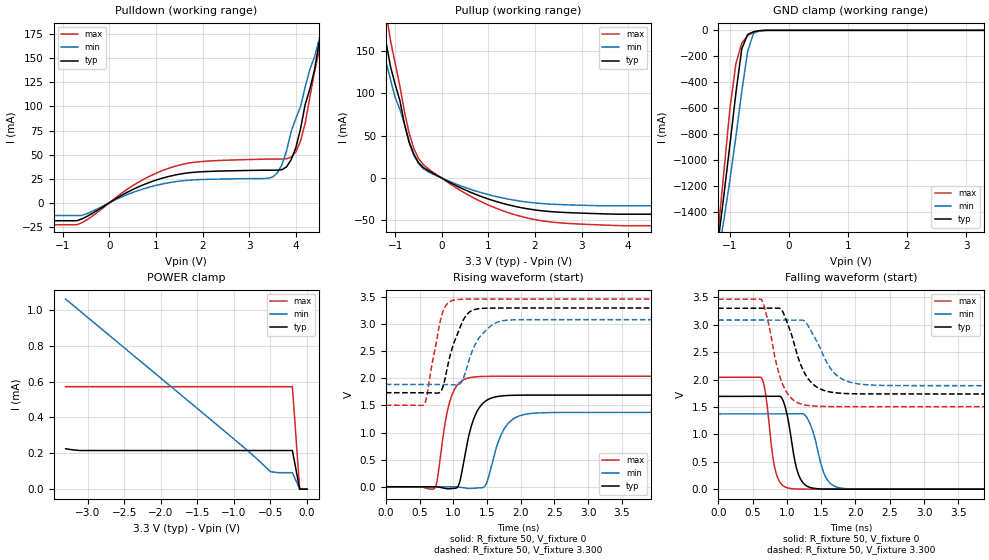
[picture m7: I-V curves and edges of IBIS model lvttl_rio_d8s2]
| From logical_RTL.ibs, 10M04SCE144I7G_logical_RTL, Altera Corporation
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|MODEL lvttl_rio_d8s2
[Model]   lvttl_rio_d8s2
Model_type   I/O
Polarity   Non-Inverting
Enable Active-Low
Vinl   = 0.800
Vinh   = 1.700
Vmeas  = 1.650
Rref   = 10M
Cref   = 0pF
Vref   = 0.000
C_comp 4.5pF   4.5pF   4.5pF
[Model Spec]
Vinh   1.700   1.700   1.700
Vinl   0.800   0.800   0.800
[Temperature Range]   25   100   -40
[Voltage Range]   3.300   3.085   3.465
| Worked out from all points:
|   slope of the pulldown table from 0 to 0.495 V, typ, clamps not added: 36.4 ohm
|   slope of the pullup table from 0 to 0.495 V, typ, clamps not added: 35.8 ohm
|   GND clamp passes 1 mA (typ) near -0.44 V on its own axis
|   rising waveform, R_fixture 50, V_fixture 0: 20-80 % time 200ps typ, 228ps min, 169ps max; typ from 0 V to 1.69 V
|   falling waveform, R_fixture 50, V_fixture 0: 20-80 % time 147ps typ, 179ps min, 119ps max; typ from 1.69 V to 0 V
|   rising waveform, R_fixture 50, V_fixture 3.300: 20-80 % time 229ps typ, 266ps min, 173ps max; typ from 1.74 V to 3.3 V
|   falling waveform, R_fixture 50, V_fixture 3.300: 20-80 % time 271ps typ, 314ps min, 221ps max; typ from 3.3 V to 1.74 V
[GND Clamp]
| voltage   I (typ)   I (min)   I (max)
-3.3V     -8.634A    -7.641A    -10.53A
-1.2V     -1.626A    -1.726A    -1.552A
-1.1V     -1.26A     -1.452A    -1.075A
-1V       -875.9mA   -1.149A    -598.7mA
-900mV    -483.9mA   -819.2mA   -258.1mA
-800mV    -141.1mA   -469.2mA   -98.68mA
-700mV    -32.06mA   -161mA     -39.97mA
-600mV    -10.6mA    -22.19mA   -15.19mA
-500mV    -2.181mA   -3.852mA   -3.947mA
3.3V      0A         0A         0A
[Pulldown]
| voltage   I (typ)   I (min)   I (max)
-3.3V     -18.72mA   -13.26mA   -22.9mA
-700mV    -18.72mA   -13.26mA   -22.9mA
1.3V      27.6mA     20.99mA    36.24mA
3.5V      33.8mA     26.59mA    45.35mA
3.8V      37.18mA    53.41mA    45.67mA
4V        57.05mA    87.51mA    52.72mA
4.1V      76.32mA    99.59mA    63.89mA
4.2V      101.7mA    119.9mA    82.17mA
4.4V      137.4mA    151.2mA    135.6mA
4.5V      166.1mA    169.4mA    157.8mA
4.6V      180.2mA    189.3mA    186.3mA
6.5V      579.5mA    514.3mA    675.9mA
[Power Clamp]
| voltage   I (typ)   I (min)   I (max)
-3.3V     225.6uA    1.06mA     571.7uA
-3.1V     215.6uA    992.4uA    571.7uA
-1V       215.6uA    280uA      571.7uA
-700mV    215.6uA    174.9uA    571.7uA
-500mV    215.6uA    97.73uA    571.7uA
-400mV    215.6uA    92.15uA    571.7uA
-200mV    215.6uA    92.15uA    571.7uA
-100mV    0A         0A         0A
0V        0A         0A         0A
[Pullup]
| voltage   I (typ)   I (min)   I (max)
-3.3V     631mA      533.6mA    786mA
-1.5V     231.7mA    194.3mA    279.7mA
-1.3V     179.7mA    153mA      228.3mA
-1.2V     161.4mA    137.6mA    196.9mA
-1.1V     131.3mA    116mA      161.8mA
-800mV    63.42mA    63.77mA    78.12mA
-600mV    28.16mA    26.7mA     34.98mA
-400mV    12.61mA    11.19mA    16.14mA
300mV     -8.767mA   -6.959mA   -11.2mA
1.3V      -29.75mA   -23.43mA   -38.41mA
2.3V      -39.42mA   -30.64mA   -51.56mA
6.5V      -42.64mA   -32.73mA   -56.23mA
[Ramp]
dV/dt_r   1.015e+00/2.002e-10 8.235e-01/2.275e-10 1.224e+00/1.685e-10
dV/dt_f   9.382e-01/2.706e-10 7.179e-01/3.144e-10 1.176e+00/2.205e-10
R_load = 50ohms
[Rising Waveform]
R_fixture   = 50
V_fixture   = 0
V_fixture_min = 0
V_fixture_max = 0
| time   V (typ)   V (min)   V (max)
0s        167.1nV    3.666uV    44.86nV
725.2ps   560.4uV    14.25uV    -25.34mV
953.1ps   -36.51mV   465.8uV    1.595V
1.084ns   46.32mV    -5.654mV   1.914V
1.229ns   940.1mV    -31.82mV   2.01V
1.34ns    1.363V     -24.13mV   2.03V
1.471ns   1.576V     17.19mV    2.037V
1.74ns    1.679V     1.037V     2.04V
2.065ns   1.692V     1.337V     2.04V
6.9ns     1.692V     1.373V     2.04V
[Falling Waveform]
R_fixture   = 50
V_fixture   = 0
V_fixture_min = 0
V_fixture_max = 0
| time   V (typ)   V (min)   V (max)
0s        1.692V     1.373V     2.04V
631.1ps   1.692V     1.373V     2.03V
692.8ps   1.692V     1.373V     1.72V
830ps     1.694V     1.372V     359mV
1.022ns   1.244V     1.372V     19.45mV
1.132ns   428.9mV    1.373V     3.704mV
1.228ns   128.2mV    1.375V     871.6uV
1.564ns   1.785mV    226.2mV    4.918uV
1.777ns   113.4uV    22.26mV    398.3nV
6.852ns   -145.7nV   3.763uV    496.5nV
[Rising Waveform]
R_fixture   = 50
V_fixture   = 3.300
V_fixture_min   = 3.085
V_fixture_max   = 3.465
| time   V (typ)   V (min)   V (max)
0s        1.736V     1.888V     1.505V
573.3ps   1.736V     1.888V     1.529V
828.8ps   1.789V     1.888V     3.17V
897.9ps   2.122V     1.887V     3.36V
1.008ns   2.654V     1.88V      3.446V
1.126ns   3.019V     1.942V     3.462V
1.243ns   3.229V     2.378V     3.464V
1.416ns   3.292V     2.802V     3.465V
1.74ns    3.3V       3.066V     3.465V
6.9ns     3.3V       3.085V     3.465V
[Falling Waveform]
R_fixture   = 50
V_fixture   = 3.300
V_fixture_min   = 3.085
V_fixture_max   = 3.465
| time   V (typ)   V (min)   V (max)
0s        3.3V       3.085V     3.465V
631.1ps   3.3V       3.085V     3.454V
713.4ps   3.3V       3.085V     3.128V
932.9ps   3.255V     3.085V     1.933V
1.063ns   2.839V     3.085V     1.661V
1.248ns   2.141V     3.075V     1.539V
1.413ns   1.883V     2.752V     1.514V
1.667ns   1.765V     2.153V     1.506V
2.017ns   1.739V     1.925V     1.505V
6.852ns   1.736V     1.888V     1.505V
